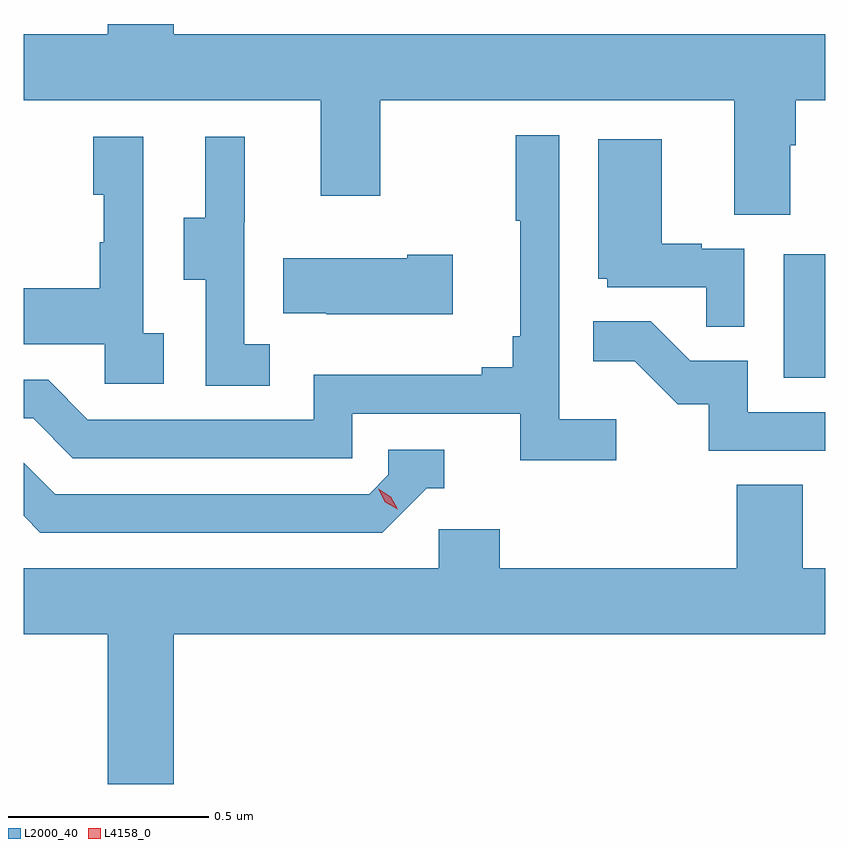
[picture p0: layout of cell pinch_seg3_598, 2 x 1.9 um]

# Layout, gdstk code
import gdstk
lib = gdstk.Library(unit=1e-6, precision=1e-09)
def R(c, l, rs):  # rectangles x0, y0, x1, y1
    for r in rs: c.add(gdstk.rectangle(r[:2], r[2:], *l))
def P(c, l, *ps):  # polygons
    for p in ps: c.add(gdstk.Polygon(p, *l))
L2000_40 = (2000, 40)
L4158_0 = (4158, 0)

pinch_seg3_598 = lib.new_cell('pinch_seg3_598')
R(pinch_seg3_598, L2000_40, [(1065.794,696.228,1065.898,696.535)])
P(pinch_seg3_598, L2000_40, [(1064.272,697.11),(1064.108,697.11),(1064.108,697.084),(1063.898,697.084),(1063.898,696.92),(1064.639,696.92),(1064.639,696.681),(1064.787,696.681),(1064.787,696.92),(1065.671,696.92),(1065.671,696.634),(1065.811,696.634),(1065.811,696.808),(1065.824,696.808),(1065.824,696.92),(1065.898,696.92),(1065.898,697.084),(1064.272,697.084)],
  [(1065.376,696.124),(1065.234,696.124),(1065.234,696.832),(1065.126,696.832),(1065.126,696.619),(1065.137,696.619),(1065.137,696.331),(1065.118,696.331),(1065.118,696.254),(1065.041,696.254),(1065.041,696.235),(1064.622,696.235),(1064.622,696.123),(1064.058,696.123),(1063.959,696.222),(1063.898,696.222),(1063.898,696.126),(1063.922,696.126),(1064.021,696.027),(1064.718,696.027),(1064.718,696.138),(1065.137,696.138),(1065.137,696.022),(1065.376,696.022)],
  [(1064.248,696.338),(1064.196,696.338),(1064.196,696.829),(1064.072,696.829),(1064.072,696.684),(1064.098,696.684),(1064.098,696.566),(1064.088,696.566),(1064.088,696.451),(1063.898,696.451),(1063.898,696.311),(1064.1,696.311),(1064.1,696.213),(1064.248,696.213)],
  [(1064.512,696.311),(1064.448,696.311),(1064.448,696.615),(1064.45,696.615),(1064.45,696.829),(1064.351,696.829),(1064.351,696.627),(1064.297,696.627),(1064.297,696.472),(1064.352,696.472),(1064.352,696.208),(1064.512,696.208)],
  [(1065.696,696.549),(1065.59,696.549),(1065.59,696.562),(1065.49,696.562),(1065.49,696.823),(1065.332,696.823),(1065.332,696.474),(1065.354,696.474),(1065.354,696.453),(1065.601,696.453),(1065.601,696.355),(1065.696,696.355)],
  [(1064.968,696.534),(1064.855,696.534),(1064.855,696.526),(1064.545,696.526),(1064.545,696.389),(1064.653,696.389),(1064.653,696.386),(1064.968,696.386)],
  [(1065.898,696.141),(1065.705,696.141),(1065.705,696.27),(1065.561,696.27),(1065.463,696.368),(1065.319,696.368),(1065.319,696.269),(1065.423,696.269),(1065.53,696.162),(1065.607,696.162),(1065.607,696.045),(1065.898,696.045)],
  [(1064.904,695.952),(1064.947,695.952),(1064.947,696.048),(1064.808,696.048),(1064.808,695.985),(1064.76,695.937),(1063.977,695.937),(1063.898,696.016),(1063.898,695.883),(1063.94,695.841),(1064.793,695.841)],
  [(1065.898,695.752),(1065.842,695.752),(1065.842,695.96),(1065.677,695.96),(1065.677,695.752),(1065.086,695.752),(1065.086,695.85),(1064.934,695.85),(1064.934,695.752),(1063.898,695.752),(1063.898,695.588),(1064.108,695.588),(1064.108,695.214),(1064.272,695.214),(1064.272,695.588),(1065.898,695.588)])
P(pinch_seg3_598, L4158_0, [(1064.831,695.899),(1064.8,695.917),(1064.783,695.95),(1064.783,695.95),(1064.783,695.95),(1064.814,695.931),(1064.831,695.899),(1064.831,695.899)])

lib.write_gds('pinch_seg3_598.gds')
